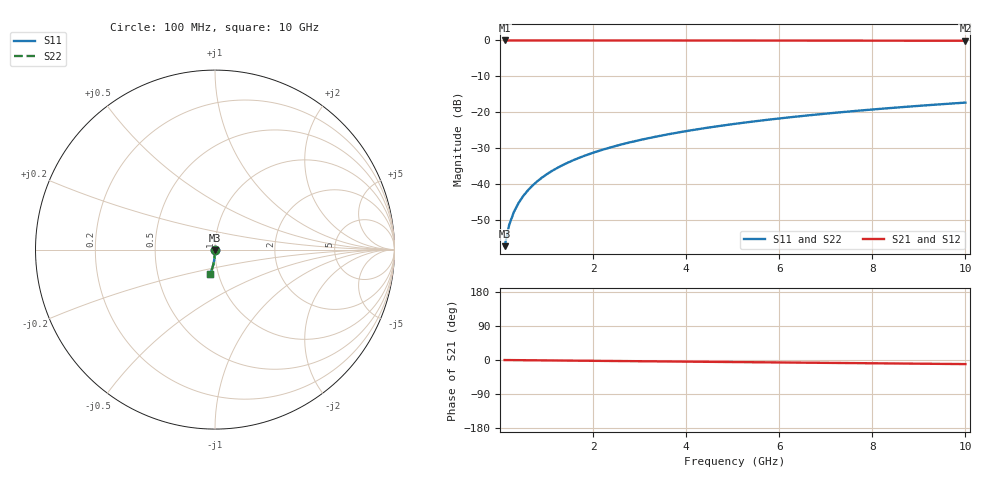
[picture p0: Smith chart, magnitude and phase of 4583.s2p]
# Hz S RI R 50.00
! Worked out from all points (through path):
!   100 points, 100 MHz to 10 GHz, reference 50 ohm
!   highest |S21| = 0.00 dB at 100 MHz (marker M1); lowest = -0.1 dB at 10 GHz (marker M2)
!   group delay of S21, straight-line fit = 3 ps
!   lowest |S11| = -57.3 dB at 100 MHz (marker M3), VSWR 1.00, Z = 50 - j0.136 ohm
!   |S11| at or under -10 dB: start of sweep to end of sweep
!   |S22| runs from -57.3 to -17.3 dB; largest |S21 - S12| = 0
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1e8  7.18e-05 -0.00136  0.9999 -0.00187  0.9999 -0.00187  7.18e-05 -0.00136
2e8  6.32e-05 -0.00272  0.9999 -0.00374  0.9999 -0.00374  6.32e-05 -0.00272
3e8  4.93e-05 -0.00408  0.9999 -0.00561  0.9999 -0.00561  4.93e-05 -0.00408
4e8  3.02e-05 -0.00544  0.9999 -0.00748  0.9999 -0.00748  3.02e-05 -0.00544
5e8  6.06e-06 -0.0068  0.9998 -0.00935  0.9998 -0.00935  6.06e-06 -0.0068
6e8  -2.32e-05 -0.00816  0.9998 -0.0112  0.9998 -0.0112  -2.32e-05 -0.00816
7e8  -5.76e-05 -0.00952  0.9998 -0.0131  0.9998 -0.0131  -5.76e-05 -0.00952
8e8  -9.72e-05 -0.0109  0.9997 -0.015  0.9997 -0.015  -9.72e-05 -0.0109
9e8  -0.000142 -0.0122  0.9997 -0.0168  0.9997 -0.0168  -0.000142 -0.0122
1.1e9  -0.000246 -0.015  0.9996 -0.0206  0.9996 -0.0206  -0.000246 -0.015
1.4e9  -0.000442 -0.019  0.9994 -0.0262  0.9994 -0.0262  -0.000442 -0.019
1.8e9  -0.000774 -0.0245  0.999 -0.0337  0.999 -0.0337  -0.000774 -0.0245
2.1e9  -0.00108 -0.0286  0.9987 -0.0393  0.9987 -0.0393  -0.00108 -0.0286
2.5e9  -0.00155 -0.034  0.9982 -0.0468  0.9982 -0.0468  -0.00155 -0.034
2.9e9  -0.00211 -0.0395  0.9976 -0.0543  0.9976 -0.0543  -0.00211 -0.0395
3.4e9  -0.00292 -0.0463  0.9968 -0.0636  0.9968 -0.0636  -0.00292 -0.0463
4.2e9  -0.00449 -0.0571  0.9951 -0.0786  0.9951 -0.0786  -0.00449 -0.0571
5.1e9  -0.00665 -0.0693  0.9928 -0.0954  0.9928 -0.0954  -0.00665 -0.0693
5.9e9  -0.00892 -0.08  0.9905 -0.1103  0.9905 -0.1103  -0.00892 -0.08
6.7e9  -0.0115 -0.0907  0.9877 -0.1251  0.9877 -0.1251  -0.0115 -0.0907
8.4e9  -0.0181 -0.1131  0.9808 -0.1564  0.9808 -0.1564  -0.0181 -0.1131
1e10  -0.0256 -0.1338  0.9729 -0.1854  0.9729 -0.1854  -0.0256 -0.1338
